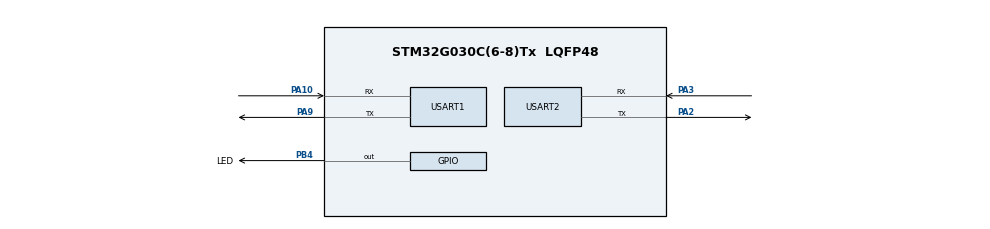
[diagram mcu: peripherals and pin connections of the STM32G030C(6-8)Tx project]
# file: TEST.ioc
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Dma.Request0=USART2_RX
Dma.Request1=USART2_TX
Dma.Request2=USART1_RX
Dma.Request3=USART1_TX
Dma.USART1_RX.2.Direction=DMA_PERIPH_TO_MEMORY
Dma.USART1_RX.2.EventEnable=DISABLE
Dma.USART1_RX.2.Instance=DMA1_Channel3
Dma.USART1_RX.2.MemDataAlignment=DMA_MDATAALIGN_BYTE
Dma.USART1_RX.2.MemInc=DMA_MINC_ENABLE
Dma.USART1_RX.2.Mode=DMA_CIRCULAR
Dma.USART1_RX.2.PeriphDataAlignment=DMA_PDATAALIGN_BYTE
Dma.USART1_RX.2.PeriphInc=DMA_PINC_DISABLE
Dma.USART1_RX.2.Polarity=HAL_DMAMUX_REQ_GEN_RISING
Dma.USART1_RX.2.Priority=DMA_PRIORITY_LOW
Dma.USART1_RX.2.RequestNumber=1
Dma.USART1_RX.2.SignalID=NONE
Dma.USART1_RX.2.SyncEnable=DISABLE
Dma.USART1_RX.2.SyncPolarity=HAL_DMAMUX_SYNC_NO_EVENT
Dma.USART1_RX.2.SyncRequestNumber=1
Dma.USART1_RX.2.SyncSignalID=NONE
Dma.USART1_TX.3.Direction=DMA_MEMORY_TO_PERIPH
Dma.USART1_TX.3.EventEnable=DISABLE
Dma.USART1_TX.3.Instance=DMA1_Channel4
Dma.USART1_TX.3.MemDataAlignment=DMA_MDATAALIGN_BYTE
Dma.USART1_TX.3.MemInc=DMA_MINC_ENABLE
Dma.USART1_TX.3.Mode=DMA_NORMAL
Dma.USART1_TX.3.PeriphDataAlignment=DMA_PDATAALIGN_BYTE
Dma.USART1_TX.3.PeriphInc=DMA_PINC_DISABLE
Dma.USART1_TX.3.Polarity=HAL_DMAMUX_REQ_GEN_RISING
Dma.USART1_TX.3.Priority=DMA_PRIORITY_LOW
Dma.USART1_TX.3.RequestNumber=1
Dma.USART1_TX.3.SignalID=NONE
Dma.USART1_TX.3.SyncEnable=DISABLE
Dma.USART1_TX.3.SyncPolarity=HAL_DMAMUX_SYNC_NO_EVENT
Dma.USART1_TX.3.SyncRequestNumber=1
Dma.USART1_TX.3.SyncSignalID=NONE
Dma.USART2_RX.0.Direction=DMA_PERIPH_TO_MEMORY
Dma.USART2_RX.0.EventEnable=DISABLE
Dma.USART2_RX.0.Instance=DMA1_Channel1
Dma.USART2_RX.0.MemDataAlignment=DMA_MDATAALIGN_BYTE
Dma.USART2_RX.0.MemInc=DMA_MINC_ENABLE
Dma.USART2_RX.0.Mode=DMA_CIRCULAR
Dma.USART2_RX.0.PeriphDataAlignment=DMA_PDATAALIGN_BYTE
Dma.USART2_RX.0.PeriphInc=DMA_PINC_DISABLE
Dma.USART2_RX.0.Polarity=HAL_DMAMUX_REQ_GEN_RISING
Dma.USART2_RX.0.Priority=DMA_PRIORITY_LOW
Dma.USART2_RX.0.RequestNumber=1
Dma.USART2_RX.0.SignalID=NONE
Dma.USART2_RX.0.SyncEnable=DISABLE
Dma.USART2_RX.0.SyncPolarity=HAL_DMAMUX_SYNC_NO_EVENT
Dma.USART2_RX.0.SyncRequestNumber=1
Dma.USART2_RX.0.SyncSignalID=NONE
Dma.USART2_TX.1.Direction=DMA_MEMORY_TO_PERIPH
Dma.USART2_TX.1.EventEnable=DISABLE
Dma.USART2_TX.1.Instance=DMA1_Channel2
Dma.USART2_TX.1.MemDataAlignment=DMA_MDATAALIGN_BYTE
Dma.USART2_TX.1.MemInc=DMA_MINC_ENABLE
Dma.USART2_TX.1.Mode=DMA_NORMAL
Dma.USART2_TX.1.PeriphDataAlignment=DMA_PDATAALIGN_BYTE
Dma.USART2_TX.1.PeriphInc=DMA_PINC_DISABLE
Dma.USART2_TX.1.Polarity=HAL_DMAMUX_REQ_GEN_RISING
Dma.USART2_TX.1.Priority=DMA_PRIORITY_LOW
Dma.USART2_TX.1.RequestNumber=1
Dma.USART2_TX.1.SignalID=NONE
Dma.USART2_TX.1.SyncEnable=DISABLE
Dma.USART2_TX.1.SyncPolarity=HAL_DMAMUX_SYNC_NO_EVENT
Dma.USART2_TX.1.SyncRequestNumber=1
Dma.USART2_TX.1.SyncSignalID=NONE
Mcu.Family=STM32G0
Mcu.Name=STM32G030C(6-8)Tx
Mcu.Package=LQFP48
NVIC.DMA1_Ch4_5_DMAMUX1_OVR_IRQn=true\:0\:0\:false\:false\:true\:false\:true
NVIC.DMA1_Channel1_IRQn=true\:0\:0\:false\:false\:true\:false\:true
NVIC.DMA1_Channel2_3_IRQn=true\:0\:0\:false\:false\:true\:false\:true
NVIC.USART1_IRQn=true\:0\:0\:false\:false\:true\:true\:true
NVIC.USART2_IRQn=true\:0\:0\:false\:false\:true\:true\:true
PA10.Mode=Asynchronous
PA10.Signal=USART1_RX
PA13.Mode=Serial_Wire
PA13.Signal=SYS_SWDIO
PA14-BOOT0.Mode=Serial_Wire
PA14-BOOT0.Signal=SYS_SWCLK
PA2.Mode=Asynchronous
PA2.Signal=USART2_TX
PA3.Mode=Asynchronous
PA3.Signal=USART2_RX
PA9.Mode=Asynchronous
PA9.Signal=USART1_TX
PB4.GPIO_Label=LED
PB4.Signal=GPIO_Output
PF0-OSC_IN\ (PF0).Mode=HSE-External-Oscillator
PF0-OSC_IN\ (PF0).Signal=RCC_OSC_IN
PF1-OSC_OUT\ (PF1).Mode=HSE-External-Oscillator
PF1-OSC_OUT\ (PF1).Signal=RCC_OSC_OUT
ProjectManager.HeapSize=0x200
ProjectManager.StackSize=0x400
ProjectManager.TargetToolchain=MDK-ARM V5.27
RCC.ADCFreq_Value=64000000
RCC.AHBFreq_Value=64000000
RCC.CortexFreq_Value=64000000
RCC.EXTERNAL_CLOCK_VALUE=12288000
RCC.HCLKFreq_Value=64000000
RCC.HSE_VALUE=8000000
RCC.HSI_VALUE=16000000
RCC.LSE_VALUE=32768
RCC.PLLN=16
RCC.PLLSourceVirtual=RCC_PLLSOURCE_HSE
RCC.SYSCLKFreq_VALUE=64000000
RCC.SYSCLKSource=RCC_SYSCLKSOURCE_PLLCLK
RCC.VCOOutputFreq_Value=128000000
USART1.VirtualMode-Asynchronous=VM_ASYNC
USART2.VirtualMode-Asynchronous=VM_ASYNC
board=custom

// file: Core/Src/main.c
/* USER CODE BEGIN Header */
/**
  ******************************************************************************
  * @file           : main.c
  * @brief          : Main program body
  ******************************************************************************
  * @attention
  *
  * <h2><center>&copy; Copyright (c) 2021 STMicroelectronics.
  * All rights reserved.</center></h2>
  *
  * This software component is licensed by ST under BSD 3-Clause license,
  * the "License"; You may not use this file except in compliance with the
  * License. You may obtain a copy of the License at:
  *                        opensource.org/licenses/BSD-3-Clause
  *
  ******************************************************************************
  */
/* USER CODE END Header */
#include "main.h"
#include "dma.h"
#include "usart.h"
#include "gpio.h"

/* USER CODE BEGIN Includes */
#include <stdio.h>
#include <stdlib.h>
#include <stdarg.h>
#include <string.h>
#include "init.h"
/* USER CODE END Includes */

void SystemClock_Config(void);
/* USER CODE BEGIN PFP */
#ifdef __GNUC__
    #define PUTCHAR_PROTOTYPE int __io_putchar(int ch)
#else
    #define PUTCHAR_PROTOTYPE int fputc(int ch, FILE *f)
#endif /* __GNUC__ */

int fputc(int ch, FILE *f)
{
    LL_USART_TransmitData8(USART1, (uint8_t)ch);
    while (!LL_USART_IsActiveFlag_TXE(USART1)) {}
    return ch;
}
/* USER CODE END PFP */

int main(void)
{

  /* MCU Configuration--------------------------------------------------------*/

  /* Reset of all peripherals, Initializes the Flash interface and the Systick. */

  LL_APB2_GRP1_EnableClock(LL_APB2_GRP1_PERIPH_SYSCFG);
  LL_APB1_GRP1_EnableClock(LL_APB1_GRP1_PERIPH_PWR);

  /* System interrupt init*/

  /* Configure the system clock */
  SystemClock_Config();

  /* Initialize all configured peripherals */
  MX_GPIO_Init();
  MX_DMA_Init();
  MX_USART1_UART_Init();
  MX_USART2_UART_Init();
  /* USER CODE BEGIN 2 */
  hal_init();
  printf("init\n");
  usart_send_string("USART DMA: DMA HT & TC + USART IDLE LINE interrupts\r\n");
  /* USER CODE END 2 */

  /* Infinite loop */
  while (1)
  {

    /* USER CODE BEGIN 3 */
    LL_GPIO_TogglePin(LED_GPIO_Port, LED_Pin);
    printf("test\n ");
    for(uint32_t i = 0; i < 6400000; i++);
    lwrb_test();
  }
  /* USER CODE END 3 */
}

void SystemClock_Config(void)
{
  LL_FLASH_SetLatency(LL_FLASH_LATENCY_2);
  while(LL_FLASH_GetLatency() != LL_FLASH_LATENCY_2)
  {
  }

  /* HSE configuration and activation */
  LL_RCC_HSE_Enable();
  while(LL_RCC_HSE_IsReady() != 1)
  {
  }

  /* Main PLL configuration and activation */
  LL_RCC_PLL_ConfigDomain_SYS(LL_RCC_PLLSOURCE_HSE, LL_RCC_PLLM_DIV_1, 16, LL_RCC_PLLR_DIV_2);
  LL_RCC_PLL_Enable();
  LL_RCC_PLL_EnableDomain_SYS();
  while(LL_RCC_PLL_IsReady() != 1)
  {
  }

  /* Set AHB prescaler*/
  LL_RCC_SetAHBPrescaler(LL_RCC_SYSCLK_DIV_1);

  /* Sysclk activation on the main PLL */
  LL_RCC_SetSysClkSource(LL_RCC_SYS_CLKSOURCE_PLL);
  while(LL_RCC_GetSysClkSource() != LL_RCC_SYS_CLKSOURCE_STATUS_PLL)
  {
  }

  /* Set APB1 prescaler*/
  LL_RCC_SetAPB1Prescaler(LL_RCC_APB1_DIV_1);

  LL_Init1msTick(64000000);

  /* Update CMSIS variable (which can be updated also through SystemCoreClockUpdate function) */
  LL_SetSystemCoreClock(64000000);
  LL_RCC_SetUSARTClockSource(LL_RCC_USART1_CLKSOURCE_PCLK1);
}

void Error_Handler(void)
{
  __disable_irq();
  while (1)
  {
  }
}

/************************ (C) COPYRIGHT STMicroelectronics *****END OF FILE****/
